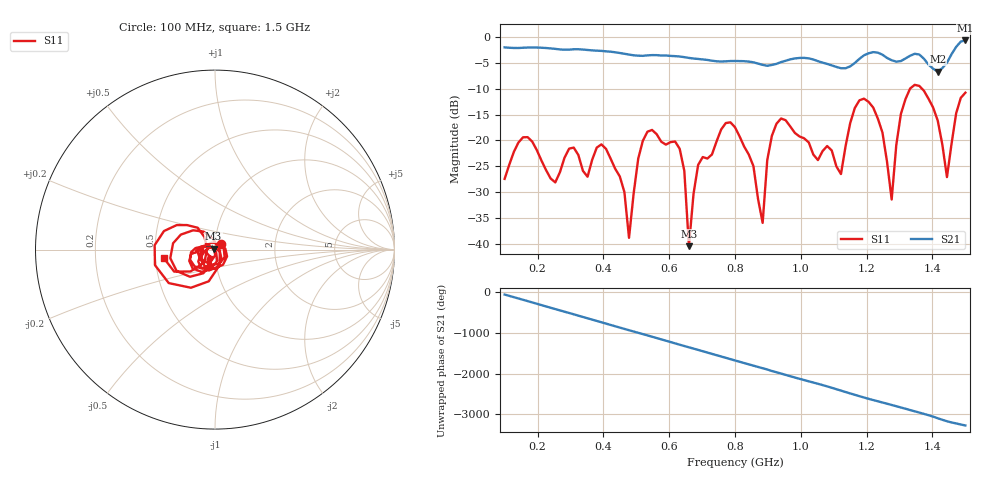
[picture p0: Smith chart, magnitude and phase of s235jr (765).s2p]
! NanoVNA-App
! Date: 2025-09-25 15:10:07
! Start: 100MHz Stop: 1,5GHz Points: 101
! S-Parameter data: F S11 S21 S12 S22
# Hz S RI R 50
!  Frequency  S11_Real  S11_Imag  S21_Real  S21_Imag  S12_Real  S12_Imag  S22_Real  S22_Imag
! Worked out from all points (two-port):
!   101 points, 100 MHz to 1.5 GHz, reference 50 ohm
!   highest |S21| = -0.62 dB at 1.5 GHz (marker M1); lowest = -6.7 dB at 1.416 GHz (marker M2)
!   |S21| within 3 dB of the highest: start of sweep to 605.7 MHz; 1.19 GHz to 1.253 GHz (63.76 MHz wide, 5.22 % of centre) (the widest 2 of 4)
!   lowest |S11| = -40.5 dB at 660 MHz (marker M3), VSWR 1.02, Z = 49.2 + j0.532 ohm
!   |S11| at or under -10 dB: start of sweep to 1.332 GHz; 1.368 GHz to end of sweep
!   S12 and S22 are empty: the file has one direction only
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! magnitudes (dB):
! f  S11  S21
! 100 MHz  -27.5  -2.0
! 156 MHz  -19.4  -2.0
! 338 MHz  -25.9  -2.4
! 408 MHz  -21.6  -2.7
! 478 MHz  -38.9  -3.4
! 520 MHz  -20.1  -3.6
! 576 MHz  -20.3  -3.5
! 632 MHz  -21.6  -3.7
! 660 MHz  -40.5  -4.0
! 688 MHz  -24.8  -4.2
! 800 MHz  -17.5  -4.6
! 884 MHz  -36.0  -5.4
! 926 MHz  -16.8  -5.2
! 1.038 GHz  -22.8  -4.3
! 1.122 GHz  -26.5  -6.0
! 1.192 GHz  -11.9  -3.5
! 1.248 GHz  -18.5  -3.4
! 1.276 GHz  -31.5  -4.5
! 1.332 GHz  -9.9  -3.6
! 1.416 GHz  -16.2  -6.7
! 1.444 GHz  -27.1  -4.9
! 1.5 GHz  -10.8  -0.6
